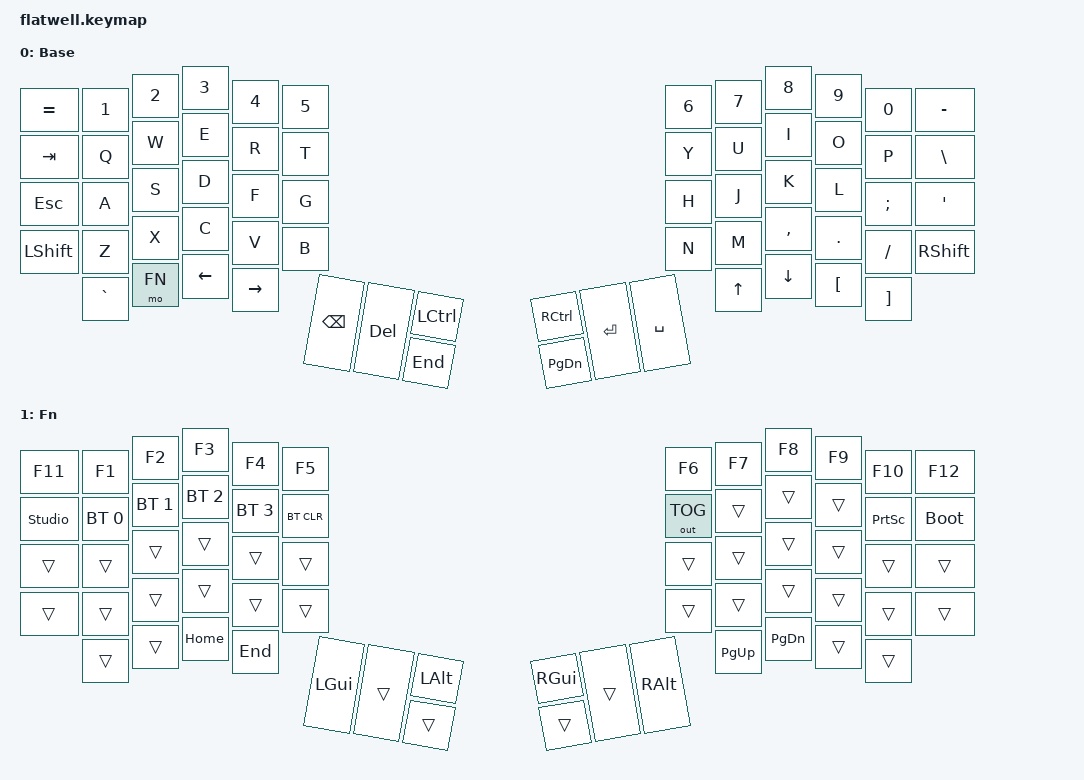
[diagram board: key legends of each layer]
// Generated by scripts/zmk.mjs. Edit that (or ergogen/config.yaml), not this file.

#include <behaviors.dtsi>
#include <dt-bindings/zmk/keys.h>
#include <dt-bindings/zmk/bt.h>
#include <dt-bindings/zmk/outputs.h>

#define BASE 0
#define FN 1

/ {
    keymap {
        compatible = "zmk,keymap";

        base {
            display-name = "Base";
            bindings = <
        &kp EQUAL &kp N1    &kp N2    &kp N3    &kp N4    &kp N5    &kp N6    &kp N7    &kp N8    &kp N9    &kp N0    &kp MINUS
        &kp TAB   &kp Q     &kp W     &kp E     &kp R     &kp T     &kp Y     &kp U     &kp I     &kp O     &kp P     &kp BSLH
        &kp ESC   &kp A     &kp S     &kp D     &kp F     &kp G     &kp H     &kp J     &kp K     &kp L     &kp SEMI  &kp SQT
        &kp LSHFT &kp Z     &kp X     &kp C     &kp V     &kp B     &kp N     &kp M     &kp COMMA &kp DOT   &kp FSLH  &kp RSHFT
        &kp GRAVE &mo FN    &kp LEFT  &kp RIGHT &kp UP    &kp DOWN  &kp LBKT  &kp RBKT
        &kp BSPC  &kp DEL   &kp LCTRL &kp END   &kp PG_DN &kp RCTRL &kp RET   &kp SPACE
            >;
        };

        fn {
            display-name = "Fn";
            bindings = <
        &kp F11        &kp F1         &kp F2         &kp F3         &kp F4         &kp F5         &kp F6         &kp F7         &kp F8         &kp F9         &kp F10        &kp F12
        &studio_unlock &bt BT_SEL 0   &bt BT_SEL 1   &bt BT_SEL 2   &bt BT_SEL 3   &bt BT_CLR     &out OUT_TOG   &trans         &trans         &trans         &kp PSCRN      &bootloader
        &trans         &trans         &trans         &trans         &trans         &trans         &trans         &trans         &trans         &trans         &trans         &trans
        &trans         &trans         &trans         &trans         &trans         &trans         &trans         &trans         &trans         &trans         &trans         &trans
        &trans         &trans         &kp HOME       &kp END        &kp PG_UP      &kp PG_DN      &trans         &trans
        &kp LGUI       &trans         &kp LALT       &trans         &trans         &kp RGUI       &trans         &kp RALT
            >;
        };

        extra1 { status = "reserved"; };
        extra2 { status = "reserved"; };
    };
};
